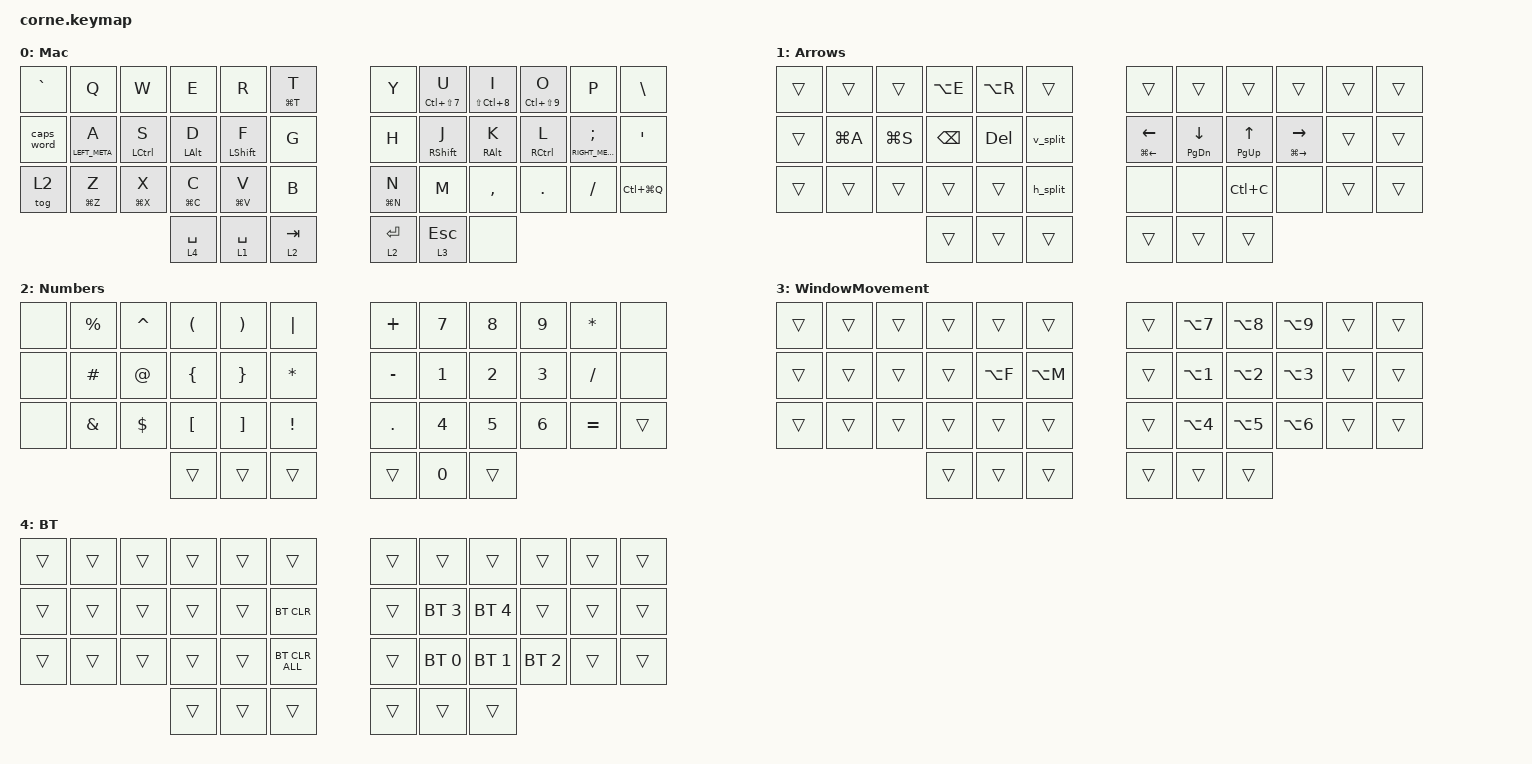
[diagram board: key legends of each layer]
/*
 * Copyright (c) 2020 The ZMK Contributors
 *
 * SPDX-License-Identifier: MIT
 */

#include <behaviors.dtsi>
#include <dt-bindings/zmk/bt.h>
#include <dt-bindings/zmk/keys.h>

/ {
    combos {
        compatible = "zmk,combos";

        Launcher {
            bindings = <&kp LG(SPACE)>;
            key-positions = <16 14>;
        };

        OpenApps {
            bindings = <&kp LC(SPACE)>;
            key-positions = <19 21>;
        };

        WebTabs {
            bindings = <&kp LA(SPACE)>;
            key-positions = <19 20>;
        };

        WebHist {
            bindings = <&kp LA(LC(SPACE))>;
            key-positions = <16 15>;
        };

        Colon {
            bindings = <&kp COLON>;
            key-positions = <16 17>;
        };

        DelPrevWord {
            bindings = <&kp LA(BACKSPACE)>;
            key-positions = <18 19>;
        };

        PrevWord {
            bindings = <&kp LA(LEFT_ARROW)>;
            key-positions = <31 32>;
        };

        NextWord {
            bindings = <&kp LA(RIGHT_ARROW)>;
            key-positions = <32 33>;
        };
    };

    behaviors {
        bhm: balanced_homerow_mod {
            compatible = "zmk,behavior-hold-tap";
            label = "Balance Homerow Mod";
            bindings = <&kp>, <&kp>;

            #binding-cells = <2>;
            tapping-term-ms = <200>;
            quick-tap-ms = <0>;
            flavor = "balanced";
        };

        caps_word: caps_word {
            compatible = "zmk,behavior-caps-word";
            label = "CAPS_WORD";
            #binding-cells = <0>;
            continue-list = <A B C D E F G H I J K L O P M Q N T S U V R W Y X Z NUMBER_1 N1 NUMBER_2 N2 NUMBER_3 N3 NUMBER_4 N4 NUMBER_5 N5 NUMBER_6 N6 NUMBER_7 N7 NUMBER_8 N8 NUMBER_9 N9 NUMBER_0 N0 BACKSPACE BSPC MINUS UNDERSCORE UNDER DELETE DEL>;
        };
    };

    macros {
        v_split: v_split {
            compatible = "zmk,behavior-macro";
            #binding-cells = <0>;
            bindings = <&kp GRAVE &kp MINUS>;
            label = "V_SPLIT";
        };

        h_split: h_split {
            compatible = "zmk,behavior-macro";
            #binding-cells = <0>;
            bindings = <&kp GRAVE &kp PIPE>;
            label = "H_SPLIT";
        };

        get_qoute: get_qoute {
            compatible = "zmk,behavior-macro";
            #binding-cells = <0>;
            bindings = <&kp LC(LS(M)) &kp LG(V)>;
            label = "GET_QOUTE";
        };
    };

    keymap {
        compatible = "zmk,keymap";

        Mac {
            // -----------------------------------------------------------------------------------------
            // |  TAB |  Q  |  W  |  E  |  R  |  T  |   |  Y  |  U   |  I  |  O  |  P  | BKSP |
            // | CTRL |  A  |  S  |  D  |  F  |  G  |   |  H  |  J   |  K  |  L  |  ;  |  '   |
            // | SHFT |  Z  |  X  |  C  |  V  |  B  |   |  N  |  M   |  ,  |  .  |  /  | ESC  |
            //                    | GUI | LWR | SPC |   | ENT | RSE  | ALT |

            bindings = <
&kp GRAVE   &kp Q             &kp W                &kp E            &kp R              &bhm LG(T) T    &kp Y         &bhm LC(LS(NUMBER_7)) U  &bhm LS(LC(NUMBER_8)) I  &bhm LC(LS(NUMBER_9)) O  &kp P                      &kp BACKSLASH
&caps_word  &bhm LEFT_META A  &bhm LEFT_CONTROL S  &bhm LEFT_ALT D  &bhm LEFT_SHIFT F  &kp G           &kp H         &bhm RIGHT_SHIFT J       &bhm RIGHT_ALT K         &bhm RIGHT_CONTROL L     &bhm RIGHT_META SEMICOLON  &kp SQT
&tog 2      &bhm LG(Z) Z      &bhm LG(X) X         &bhm LG(C) C     &bhm LG(V) V       &kp B           &bhm LG(N) N  &kp M                    &kp COMMA                &kp DOT                  &kp SLASH                  &kp LC(LG(Q))
                                                   &lt 4 SPACE      &lt 1 SPACE        &lt 2 TAB       &lt 2 ENTER   &lt 3 ESCAPE             &none
            >;

            label = "Mac";
        };

        Arrows {
            // -----------------------------------------------------------------------------------------
            // |  TAB |  1  |  2  |  3  |  4  |  5  |   |  6  |  7  |  8  |  9  |  0  | BKSP |
            // | BTCLR| BT1 | BT2 | BT3 | BT4 | BT5 |   | LFT | DWN |  UP | RGT |     |      |
            // | SHFT |     |     |     |     |     |   |     |     |     |     |     |      |
            //                    | GUI |     | SPC |   | ENT |     | ALT |

            bindings = <
&trans  &trans     &trans     &kp LA(E)      &kp LA(R)   &trans      &trans             &trans              &trans          &trans               &trans  &trans
&trans  &kp LG(A)  &kp LG(S)  &kp BACKSPACE  &kp DELETE  &v_split    &mt LG(LEFT) LEFT  &mt PAGE_DOWN DOWN  &mt PAGE_UP UP  &mt LG(RIGHT) RIGHT  &trans  &trans
&trans  &trans     &trans     &trans         &trans      &h_split    &none              &none               &kp LC(C)       &none                &trans  &trans
                              &trans         &trans      &trans      &trans             &trans              &trans
            >;

            label = "Arrows";
        };

        Numbers {
            // -----------------------------------------------------------------------------------------
            // |  TAB |  !  |  @  |  #  |  $  |  %  |   |  ^  |  &  |  *  |  (  |  )  | BKSP |
            // | CTRL |     |     |     |     |     |   |  -  |  =  |  [  |  ]  |  \  |  `   |
            // | SHFT |     |     |     |     |     |   |  _  |  +  |  {  |  }  | "|" |  ~   |
            //                    | GUI |     | SPC |   | ENT |     | ALT |

            bindings = <
&none  &kp PERCENT    &kp CARET    &kp LEFT_PARENTHESIS  &kp RIGHT_PARENTHESIS  &kp PIPE           &kp PLUS    &kp NUMBER_7  &kp NUMBER_8  &kp NUMBER_9  &kp ASTERISK  &none
&none  &kp HASH       &kp AT_SIGN  &kp LEFT_BRACE        &kp RIGHT_BRACE        &kp ASTERISK       &kp MINUS   &kp NUMBER_1  &kp NUMBER_2  &kp NUMBER_3  &kp SLASH     &none
&none  &kp AMPERSAND  &kp DOLLAR   &kp LEFT_BRACKET      &kp RIGHT_BRACKET      &kp EXCLAMATION    &kp PERIOD  &kp NUMBER_4  &kp NUMBER_5  &kp NUMBER_6  &kp EQUAL     &trans
                                   &trans                &trans                 &trans             &trans      &kp NUMBER_0  &trans
            >;

            label = "Numbers";
        };

        WindowMovement {
            bindings = <
&trans  &trans  &trans  &trans  &trans     &trans       &trans  &kp LA(NUMBER_7)  &kp LA(N8)        &kp LA(NUMBER_9)  &trans  &trans
&trans  &trans  &trans  &trans  &kp LA(F)  &kp LA(M)    &trans  &kp LA(NUMBER_1)  &kp LA(NUMBER_2)  &kp LA(NUMBER_3)  &trans  &trans
&trans  &trans  &trans  &trans  &trans     &trans       &trans  &kp LA(NUMBER_4)  &kp LA(N5)        &kp LA(NUMBER_6)  &trans  &trans
                        &trans  &trans     &trans       &trans  &trans            &trans
            >;
        };

        BT {
            bindings = <
&trans  &trans  &trans  &trans  &trans  &trans            &trans  &trans        &trans        &trans        &trans  &trans
&trans  &trans  &trans  &trans  &trans  &bt BT_CLR        &trans  &bt BT_SEL 3  &bt BT_SEL 4  &trans        &trans  &trans
&trans  &trans  &trans  &trans  &trans  &bt BT_CLR_ALL    &trans  &bt BT_SEL 0  &bt BT_SEL 1  &bt BT_SEL 2  &trans  &trans
                        &trans  &trans  &trans            &trans  &trans        &trans
            >;

            label = "BT";
        };
    };
};
